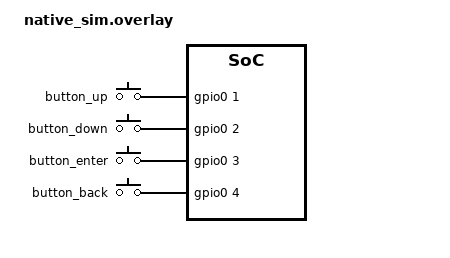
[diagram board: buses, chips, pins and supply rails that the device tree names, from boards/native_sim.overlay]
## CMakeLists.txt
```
# SPDX-License-Identifier: Apache-2.0

cmake_minimum_required(VERSION 3.20.0)

find_package(Zephyr REQUIRED HINTS $ENV{ZEPHYR_BASE})
find_package(Python REQUIRED COMPONENTS Interpreter)

project(zlrclib)

include_directories(src/applications)
include_directories(src/display)
include_directories(src/filesystem)
include_directories(src/http_server)
include_directories(src/wifi)

add_subdirectory(src/applications)
add_subdirectory_ifdef(CONFIG_DISPLAY src/display)
add_subdirectory_ifdef(CONFIG_FILE_SYSTEM src/filesystem)
add_subdirectory_ifdef(CONFIG_HTTP_SERVER src/http_server)
add_subdirectory_ifdef(CONFIG_WIFI_CONNECTION_MANAGER src/wifi)

target_sources(app PRIVATE src/main.c)
```

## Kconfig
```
# Config options for zlrclib
# Copyright (c) 2025 Muhammad Waleed Badar
# SPDX-License-Identifier: Apache-2.0

rsource "src/filesystem/Kconfig"
rsource "src/wifi/Kconfig"

source "Kconfig.zephyr"
```

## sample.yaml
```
# This file is provided so that the application can be compiled using Twister,
# the Zephyr testing tool. In this file, multiple combinations can be specified,
# so that you can easily test all of them locally or in CI.
sample:
  description: zlrclib
  name: zlrclib 
common:
  build_only: true
  integration_platforms:
    - zlrclibdk/esp32/procpu
tests:
  app.default: {}
  app.debug:
    extra_overlay_confs:
      - overlay-debug.conf
```

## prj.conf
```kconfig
# General config
CONFIG_MAIN_STACK_SIZE=4096
CONFIG_SYSTEM_WORKQUEUE_STACK_SIZE=4096
CONFIG_INIT_STACKS=y
CONFIG_THREAD_STACK_INFO=y

# Eventfd config
CONFIG_EVENTFD=y
CONFIG_ZVFS_EVENTFD_MAX=2
CONFIG_ZVFS_OPEN_MAX=16
CONFIG_ZVFS_POLL_MAX=16

# Wifi config
CONFIG_WIFI=y
CONFIG_WIFI_NM=y
CONFIG_WIFI_USAGE_MODE_STA_AP=y
CONFIG_WIFI_CONNECTION_MANAGER=y
CONFIG_WIFI_STATIC_SSID=""
CONFIG_WIFI_STATIC_PSK=""

# Networking config
CONFIG_NETWORKING=y
CONFIG_NET_IPV4=y
CONFIG_NET_IPV6=n
CONFIG_NET_TCP=y
CONFIG_NET_SOCKETS=y
CONFIG_NET_SOCKETS_SOCKOPT_TLS=y
CONFIG_NET_SOCKETS_CONNECT_TIMEOUT=10000

# Network buffers
CONFIG_NET_PKT_RX_COUNT=16
CONFIG_NET_PKT_TX_COUNT=16
CONFIG_NET_BUF_RX_COUNT=32
CONFIG_NET_BUF_TX_COUNT=32
CONFIG_NET_CONTEXT_NET_PKT_POOL=y

# Networking Managment
CONFIG_NET_MGMT_EVENT_QUEUE_SIZE=10
CONFIG_NET_MGMT_EVENT_STACK_SIZE=4096
CONFIG_NET_SOCKETS_SERVICE_STACK_SIZE=4096
CONFIG_NET_MAX_CONTEXTS=16
CONFIG_NET_MAX_CONN=16
CONFIG_NET_IF_MAX_IPV4_COUNT=2

# DHCP config
CONFIG_NET_DHCPV4=y

# DNS config
CONFIG_DNS_SERVER_IP_ADDRESSES=y
CONFIG_DNS_SERVER1="8.8.8.8"
CONFIG_NET_SOCKETS_DNS_TIMEOUT=5000

# MBEDTLS config
CONFIG_MBEDTLS=y
CONFIG_MBEDTLS_BUILTIN=y
CONFIG_MBEDTLS_ENABLE_HEAP=y
CONFIG_MBEDTLS_HEAP_SIZE=23552
CONFIG_MBEDTLS_SSL_MAX_CONTENT_LEN=2048
CONFIG_MBEDTLS_CIPHERSUITE_TLS_ECDHE_ECDSA_WITH_AES_256_GCM_SHA384=y

# JSON
CONFIG_JSON_LIBRARY=y

# REQUESTS
CONFIG_REQUESTS=y
CONFIG_REQUESTS_CERTIFICATE="lrclib.der"

# HTTP config
CONFIG_HTTP_SERVER=y

# Flash config
CONFIG_FLASH=y
CONFIG_FLASH_MAP=y

# LittleFS config
CONFIG_FILE_SYSTEM=y
CONFIG_FILE_SYSTEM_LITTLEFS=y

# Input config
CONFIG_INPUT=y

# Display config
CONFIG_DISPLAY=y

# LVGL config
CONFIG_LVGL=y
CONFIG_LV_FONT_MONTSERRAT_14=y
CONFIG_LV_Z_MEM_POOL_SIZE=16384

# Coredump config
CONFIG_DEBUG_COREDUMP=y
CONFIG_DEBUG_COREDUMP_MEMORY_DUMP_MIN=y
CONFIG_RETENTION_MUTEX_FORCE_DISABLE=y
CONFIG_RETAINED_MEM_MUTEX_FORCE_DISABLE=y
CONFIG_RETENTION_BUFFER_SIZE=256
```

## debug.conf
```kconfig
# Debug config
CONFIG_LOG=y
CONFIG_NET_LOG=y
CONFIG_WIFI_LOG_LEVEL_DBG=n
CONFIG_WIFI_CONNECTION_MANAGER_LOG_LEVEL_DBG=n
CONFIG_NET_SOCKETS_LOG_LEVEL_DBG=n
CONFIG_NET_DHCPV4_LOG_LEVEL_DBG=n
CONFIG_NET_DHCPV4_SERVER_LOG_LEVEL_DBG=n
CONFIG_NET_HTTP_LOG_LEVEL_DBG=n
CONFIG_NET_HTTP_SERVER_LOG_LEVEL_DBG=n
```

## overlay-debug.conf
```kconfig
# Debug config
CONFIG_LOG=y
CONFIG_NET_LOG=y
CONFIG_WIFI_LOG_LEVEL_DBG=n
CONFIG_WIFI_CONNECTION_MANAGER_LOG_LEVEL_DBG=n
CONFIG_NET_SOCKETS_LOG_LEVEL_DBG=n
CONFIG_NET_DHCPV4_LOG_LEVEL_DBG=n
CONFIG_NET_DHCPV4_SERVER_LOG_LEVEL_DBG=n
CONFIG_NET_HTTP_LOG_LEVEL_DBG=n
CONFIG_NET_HTTP_SERVER_LOG_LEVEL_DBG=n

# CONFIG_MBEDTLS_DEBUG=y
# CONFIG_MBEDTLS_LOG_LEVEL_DBG=y
```

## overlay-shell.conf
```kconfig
# Shell config
CONFIG_SHELL=y
CONFIG_NET_SHELL=y
CONFIG_NET_L2_WIFI_SHELL=y
CONFIG_FILE_SYSTEM_SHELL=y
```

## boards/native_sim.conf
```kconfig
# Wifi Config
CONFIG_WIFI=n
CONFIG_WIFI_NM=n
CONFIG_WIFI_USAGE_MODE_STA_AP=n
CONFIG_WIFI_CONNECTION_MANAGER=n

# Network address config
CONFIG_NET_DHCPV4=n
CONFIG_NET_CONFIG_SETTINGS=y
CONFIG_NET_CONFIG_NEED_IPV4=y
CONFIG_NET_CONFIG_MY_IPV4_ADDR="192.0.2.1"
CONFIG_NET_CONFIG_PEER_IPV4_ADDR="192.0.2.2"
CONFIG_NET_CONFIG_MY_IPV4_GW="192.0.2.2"

# Filesystem config
CONFIG_FUSE_FS_ACCESS=y

# Display config
CONFIG_LV_Z_MEM_POOL_SIZE=32768
```

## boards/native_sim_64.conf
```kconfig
# LVGL config
CONFIG_LV_Z_MEM_POOL_SIZE=32768

# Wifi Config
CONFIG_WIFI=n
CONFIG_WIFI_NM=n
CONFIG_WIFI_USAGE_MODE_STA_AP=n
CONFIG_WIFI_CONNECTION_MANAGER=n

# Network address config
CONFIG_NET_DHCPV4=n
CONFIG_NET_CONFIG_SETTINGS=y
CONFIG_NET_CONFIG_NEED_IPV4=y
CONFIG_NET_CONFIG_MY_IPV4_ADDR="192.0.2.1"
CONFIG_NET_CONFIG_PEER_IPV4_ADDR="192.0.2.2"
CONFIG_NET_CONFIG_MY_IPV4_GW="192.0.2.2"

# Filesystem config
CONFIG_FUSE_FS_ACCESS=y
```

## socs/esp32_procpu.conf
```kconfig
# RTC config
CONFIG_RTC=n
```

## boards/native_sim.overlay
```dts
/*
 * Copyright (c) 2025 Muhammad Waleed Badar
 *
 * SPDX-License-Identifier: Apache-2.0
 */

#include <zephyr/dt-bindings/input/input-event-codes.h>
#include <zephyr/dt-bindings/lvgl/lvgl.h>

/delete-node/ &storage_partition;

/ {
	keys: keys {
		compatible = "gpio-keys";
		button_up: button_up {
			gpios = <&gpio0 1 GPIO_ACTIVE_HIGH>;
			zephyr,code = <INPUT_KEY_UP>;
		};

		button_down: button_down {
			gpios = <&gpio0 2 GPIO_ACTIVE_HIGH>;
			zephyr,code = <INPUT_KEY_DOWN>;
		};

		button_enter: button_enter {
			gpios = <&gpio0 3 GPIO_ACTIVE_HIGH>;
			zephyr,code = <INPUT_KEY_ENTER>;
		};

		button_back: button_back {
			gpios = <&gpio0 4 GPIO_ACTIVE_HIGH>;
			zephyr,code = <INPUT_KEY_BACKSPACE>;
		};
	};

	lvgl_keypad_input {
		compatible = "zephyr,lvgl-keypad-input";
		input = <&keys>;
		input-codes = <INPUT_KEY_UP INPUT_KEY_DOWN INPUT_KEY_ENTER INPUT_KEY_BACKSPACE>;
		lvgl-codes = <LV_KEY_UP LV_KEY_DOWN LV_KEY_ENTER LV_KEY_BACKSPACE>;
	};
};

&gpio0 {
	ngpios = <5>;

	sdl_gpio {
		status = "okay";
		compatible = "zephyr,gpio-emul-sdl";
		/* Skip pin 0 with the unknown code 0 */
		scancodes = <0 82 81 40 42>;
	};
};

&sdl_dc {
	compatible = "zephyr,sdl-dc";
	width = <128>;
    height = <64>;
};

&flash0 {
    partitions {
        compatible = "fixed-partitions";
        #address-cells = <1>;
        #size-cells = <1>;

        storage_partition: partition@f0000 {
            label = "storage";
            reg = <0x000f0000 DT_SIZE_K(1024)>;
        };
    };
};
```

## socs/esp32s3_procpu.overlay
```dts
/ {
	wlan1: wlan1 {
		compatible = "espressif,esp32-wifi";
		status = "okay";
	};
};
```

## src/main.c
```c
/*
 * Copyright (c) 2025 Muhammad Waleed Badar
 *
 * SPDX-License-Identifier: Apache-2.0
 */

#include <zlrclib_display.h>
#include <wifi_conn_mgr.h>

#include <zephyr/logging/log.h>
LOG_MODULE_REGISTER(zlrclib);

#define ZLRCLIB_DISPLAY_STACK_SIZE 4096
#define ZLRCLIB_DISPLAY_PRIORITY 6

static void zlrclib_display_thread(void)
{
	int ret;

	ret = zlrclib_display_init();
	if (ret < 0) {
		return;
	}

	zlrclib_display_mgr_init();

	while (1) {
		lv_task_handler();
		k_sleep(K_MSEC(10));
	}
}

int main(void)
{
	int ret = 0;

#if defined(CONFIG_WIFI)
	struct net_if *iface = net_if_get_wifi_sta();
	if (iface == NULL) {
		LOG_ERR("Wifi interface not found");
		return -ENODEV;
	}

	ret = wifi_connect(iface, CONFIG_WIFI_STATIC_SSID, CONFIG_WIFI_STATIC_PSK);
	if (ret < 0) {
		LOG_WRN("WiFi connect failed: %d", ret);
	}
#endif

	return ret;
}

K_THREAD_DEFINE(zlrclib_display_tid, ZLRCLIB_DISPLAY_STACK_SIZE, zlrclib_display_thread, NULL, NULL, NULL, ZLRCLIB_DISPLAY_PRIORITY, 0, 200);
```

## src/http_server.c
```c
/*
 * Copyright (c) 2023, Emna Rekik
 * Copyright (c) 2024, Nordic Semiconductor
 *
 * SPDX-License-Identifier: Apache-2.0
 */

#include <stdio.h>
#include <inttypes.h>

#include <zephyr/kernel.h>
#include <zephyr/net/http/server.h>
#include <zephyr/net/http/service.h>
#include <zephyr/data/json.h>
#include "zephyr/sys/util.h"
#include <zephyr/sys/util_macro.h>
#include <zephyr/net/net_config.h>

#include <zephyr/logging/log.h>
LOG_MODULE_REGISTER(http_service, LOG_LEVEL_DBG);

static uint8_t index_html_gz[] = {
#include "index.html.gz.inc"
};

static uint8_t main_js_gz[] = {
#include "main.js.gz.inc"
};

static struct http_resource_detail_static index_html_gz_resource_detail = {
	.common =
		{
			.type = HTTP_RESOURCE_TYPE_STATIC,
			.bitmask_of_supported_http_methods = BIT(HTTP_GET),
			.content_encoding = "gzip",
			.content_type = "text/html",
		},
	.static_data = index_html_gz,
	.static_data_len = sizeof(index_html_gz),
};

static struct http_resource_detail_static main_js_gz_resource_detail = {
	.common =
		{
			.type = HTTP_RESOURCE_TYPE_STATIC,
			.bitmask_of_supported_http_methods = BIT(HTTP_GET),
			.content_encoding = "gzip",
			.content_type = "text/javascript",
		},
	.static_data = main_js_gz,
	.static_data_len = sizeof(main_js_gz),
};

static int connect_handler(struct http_client_ctx *client, enum http_data_status status,
			   const struct http_request_ctx *request_ctx,
			   struct http_response_ctx *response_ctx, void *user_data)
{
	static size_t processed;

	if (status == HTTP_SERVER_DATA_ABORTED) {
		LOG_INF("Transaction aborted after %zd bytes.", processed);
		processed = 0;
		return 0;
	}

	__ASSERT_NO_MSG(buffer != NULL);

	processed += request_ctx->data_len;

	printk("\n\n\n%.*s\n", request_ctx->data_len, request_ctx->data);

	if (status == HTTP_SERVER_DATA_FINAL) {
		LOG_DBG("All data received (%zd bytes).", processed);
		processed = 0;
	}

	/* connect data back to client */
	response_ctx->body = request_ctx->data;
	response_ctx->body_len = request_ctx->data_len;
	response_ctx->final_chunk = (status == HTTP_SERVER_DATA_FINAL);

	return 0;
}

static struct http_resource_detail_dynamic connect_resource_detail = {
	.common =
		{
			.type = HTTP_RESOURCE_TYPE_DYNAMIC,
			.bitmask_of_supported_http_methods = BIT(HTTP_GET) | BIT(HTTP_POST),
		},
	.cb = connect_handler,
	.user_data = NULL,
};

static uint16_t test_http_service_port = CONFIG_NET_SAMPLE_HTTP_SERVER_SERVICE_PORT;
HTTP_SERVICE_DEFINE(test_http_service, NULL, &test_http_service_port,
		    CONFIG_HTTP_SERVER_MAX_CLIENTS, 10, NULL, NULL, NULL);

HTTP_RESOURCE_DEFINE(index_html_gz_resource, test_http_service, "/",
		     &index_html_gz_resource_detail);

HTTP_RESOURCE_DEFINE(main_js_gz_resource, test_http_service, "/main.js",
		     &main_js_gz_resource_detail);

HTTP_RESOURCE_DEFINE(connect_resource, test_http_service, "/connect", &connect_resource_detail);
```

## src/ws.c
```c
/*
 * Copyright (c) 2024, Nordic Semiconductor
 *
 * SPDX-License-Identifier: Apache-2.0
 */

#include <stdio.h>

#include <zephyr/kernel.h>
#include <zephyr/net/http/service.h>
#include <zephyr/net/net_ip.h>
#include <zephyr/net/socket.h>
#include <zephyr/net/websocket.h>
#include <zephyr/net/net_mgmt.h>
#include <zephyr/init.h>
#if defined(CONFIG_NET_STATISTICS)
#include <zephyr/net/net_stats.h>
#endif

#include <zephyr/logging/log.h>
LOG_MODULE_DECLARE(net_http_server_sample, LOG_LEVEL_DBG);

#if defined(CONFIG_NET_SOCKETS_SOCKOPT_TLS) || defined(CONFIG_COVERAGE_GCOV)
#define STACK_SIZE 4096
#else
#define STACK_SIZE 2048
#endif

#if defined(CONFIG_NET_TC_THREAD_COOPERATIVE)
#define THREAD_PRIORITY K_PRIO_COOP(CONFIG_NUM_COOP_PRIORITIES - 1)
#else
#define THREAD_PRIORITY K_PRIO_PREEMPT(8)
#endif

#if defined(CONFIG_USERSPACE)
#include <zephyr/app_memory/app_memdomain.h>
extern struct k_mem_partition app_partition;
extern struct k_mem_domain app_domain;
#define APP_BMEM K_APP_BMEM(app_partition)
#define APP_DMEM K_APP_DMEM(app_partition)
#else
#define APP_BMEM
#define APP_DMEM
#endif

#define MAX_CLIENT_QUEUE CONFIG_NET_SAMPLE_NUM_WEBSOCKET_HANDLERS
#define RECV_BUFFER_SIZE 1280

struct ws_netstats_ctx {
	int sock;
	struct k_work_delayable work;
};

K_THREAD_STACK_ARRAY_DEFINE(ws_handler_stack, CONFIG_NET_SAMPLE_NUM_WEBSOCKET_HANDLERS, STACK_SIZE);
static struct k_thread ws_handler_thread[CONFIG_NET_SAMPLE_NUM_WEBSOCKET_HANDLERS];
static APP_BMEM bool ws_handler_in_use[CONFIG_NET_SAMPLE_NUM_WEBSOCKET_HANDLERS];

static struct ws_netstats_ctx netstats_ctx[CONFIG_NET_SAMPLE_NUM_WEBSOCKET_HANDLERS];

static struct data {
	int sock;
	uint32_t counter;
	uint32_t bytes_received;
	struct pollfd fds[1];
	char recv_buffer[RECV_BUFFER_SIZE];
} config[CONFIG_NET_SAMPLE_NUM_WEBSOCKET_HANDLERS] = {
	[0 ...(CONFIG_NET_SAMPLE_NUM_WEBSOCKET_HANDLERS - 1)] = {
		.sock = -1,
		.fds[0].fd = -1,
	}};

static int get_free_echo_slot(struct data *cfg)
{
	for (int i = 0; i < CONFIG_NET_SAMPLE_NUM_WEBSOCKET_HANDLERS; i++) {
		if (cfg[i].sock < 0) {
			return i;
		}
	}

	return -1;
}

static int get_free_netstats_slot(void)
{
	for (int i = 0; i < CONFIG_NET_SAMPLE_NUM_WEBSOCKET_HANDLERS; i++) {
		if (netstats_ctx[i].sock < 0) {
			return i;
		}
	}

	return -1;
}

static ssize_t sendall(int sock, const void *buf, size_t len)
{
	while (len) {
		ssize_t out_len = send(sock, buf, len, 0);

		if (out_len < 0) {
			return out_len;
		}
		buf = (const char *)buf + out_len;
		len -= out_len;
	}

	return 0;
}

static void ws_echo_handler(void *ptr1, void *ptr2, void *ptr3)
{
	int slot = POINTER_TO_INT(ptr1);
	struct data *cfg = ptr2;
	bool *in_use = ptr3;
	int offset = 0;
	int received;
	int client;
	int ret;

	client = cfg->sock;

	cfg->fds[0].fd = client;
	cfg->fds[0].events = POLLIN;

	/* In this example, we start to receive data from the websocket
	 * and send it back to the client. Note that we could either use
	 * the BSD socket interface if we do not care about Websocket
	 * specific packets, or we could use the websocket_{send/recv}_msg()
	 * function to send websocket specific data.
	 */
	while (true) {
		if (poll(cfg->fds, 1, -1) < 0) {
			LOG_ERR("Error in poll:%d", errno);
			continue;
		}

		if (cfg->fds[0].fd < 0) {
			continue;
		}

		if (cfg->fds[0].revents & ZSOCK_POLLHUP) {
			LOG_DBG("Client #%d has disconnected", client);
			break;
		}

		received = recv(client, cfg->recv_buffer + offset,
				sizeof(cfg->recv_buffer) - offset, 0);

		if (received == 0) {
			/* Connection closed */
			LOG_INF("[%d] Connection closed", slot);
			break;
		} else if (received < 0) {
			/* Socket error */
			LOG_ERR("[%d] Connection error %d", slot, errno);
			break;
		}

		cfg->bytes_received += received;
		offset += received;

#if !defined(CONFIG_NET_SOCKETS_SOCKOPT_TLS)
		/* To prevent fragmentation of the response, reply only if
		 * buffer is full or there is no more data to read
		 */
		if (offset == sizeof(cfg->recv_buffer) ||
		    (recv(client, cfg->recv_buffer + offset, sizeof(cfg->recv_buffer) - offset,
			  MSG_PEEK | MSG_DONTWAIT) < 0 &&
		     (errno == EAGAIN || errno == EWOULDBLOCK))) {
#endif
			ret = sendall(client, cfg->recv_buffer, offset);
			if (ret < 0) {
				LOG_ERR("[%d] Failed to send data, closing socket", slot);
				break;
			}

			LOG_DBG("[%d] Received and replied with %d bytes", slot, offset);

			if (++cfg->counter % 1000 == 0U) {
				LOG_INF("[%d] Sent %u packets", slot, cfg->counter);
			}

			offset = 0;
#if !defined(CONFIG_NET_SOCKETS_SOCKOPT_TLS)
		}
#endif
	}

	*in_use = false;

	(void)websocket_unregister(client);

	cfg->sock = -1;
}

static int netstats_collect(char *buf, size_t maxlen)
{
	int ret;
	struct net_stats data;
	uint32_t bytes_recv = 0;
	uint32_t bytes_sent = 0;
	uint32_t ipv6_recv = 0;
	uint32_t ipv6_sent = 0;
	uint32_t ipv4_recv = 0;
	uint32_t ipv4_sent = 0;
	uint32_t tcp_recv = 0;
	uint32_t tcp_sent = 0;

	net_mgmt(NET_REQUEST_STATS_GET_ALL, NULL, &data, sizeof(data));

	const char *net_stats_json_template = "{"
					      "\"bytes_recv\":%u,"
					      "\"bytes_sent\":%u,"
					      "\"ipv6_pkt_recv\":%u,"
					      "\"ipv6_pkt_sent\":%u,"
					      "\"ipv4_pkt_recv\":%u,"
					      "\"ipv4_pkt_sent\":%u,"
					      "\"tcp_bytes_recv\":%u,"
					      "\"tcp_bytes_sent\":%u"
					      "}";

	bytes_recv = data.bytes.received;
	bytes_sent = data.bytes.sent;
#if defined(CONFIG_NET_STATISTICS_IPV6)
	ipv6_recv = data.ipv6.recv;
	ipv6_sent = data.ipv6.sent;
#endif
#if defined(CONFIG_NET_STATISTICS_IPV4)
	ipv4_recv = data.ipv4.recv;
	ipv4_sent = data.ipv4.sent;
#endif
#if defined(CONFIG_NET_STATISTICS_TCP)
	tcp_recv = data.tcp.bytes.received;
	tcp_sent = data.tcp.bytes.sent;
#endif

	ret = snprintf(buf, maxlen, net_stats_json_template, bytes_recv, bytes_sent, ipv6_recv,
		       ipv6_sent, ipv4_recv, ipv4_sent, tcp_recv, tcp_sent);
	if (ret >= maxlen) {
		LOG_ERR("Net stats do not fit in buffer");
		return -ENOSPC;
	}

	return ret;
}

#define WS_NETSTATS_STACK_SIZE 2048
K_THREAD_STACK_DEFINE(ws_netstats_stack, WS_NETSTATS_STACK_SIZE);
struct k_work_q ws_netstats_queue;

static void netstats_handler(struct k_work *work)
{
	int ret;
	static char tx_buf[NET_IPV4_MTU];
	struct k_work_delayable *dwork = k_work_delayable_from_work(work);
	struct ws_netstats_ctx *ctx = CONTAINER_OF(dwork, struct ws_netstats_ctx, work);

	ret = netstats_collect(tx_buf, sizeof(tx_buf));
	if (ret < 0) {
		LOG_ERR("Unable to collect network statistics, err %d", ret);
		goto unregister;
	}

	ret = websocket_send_msg(ctx->sock, tx_buf, ret, WEBSOCKET_OPCODE_DATA_TEXT, false, true,
				 SYS_FOREVER_MS);
	if (ret < 0) {
		LOG_INF("Couldn't send websocket msg (%d), closing connection", ret);
		goto unregister;
	}

	ret = k_work_reschedule_for_queue(&ws_netstats_queue, &ctx->work,
					  K_MSEC(CONFIG_NET_SAMPLE_WEBSOCKET_STATS_INTERVAL));
	if (ret < 0) {
		LOG_ERR("Failed to schedule netstats work, err %d", ret);
		goto unregister;
	}

	return;

unregister:
	(void)websocket_unregister(ctx->sock);
	ctx->sock = -1;
}

int ws_netstats_init(void)
{
	struct k_work_queue_config cfg = {.name = "ws_netstats_q"};

	k_work_queue_init(&ws_netstats_queue);
	k_work_queue_start(&ws_netstats_queue, ws_netstats_stack, WS_NETSTATS_STACK_SIZE, 0, &cfg);

	for (int i = 0; i < CONFIG_NET_SAMPLE_NUM_WEBSOCKET_HANDLERS; i++) {
		netstats_ctx[i].sock = -1;
		k_work_init_delayable(&netstats_ctx[i].work, netstats_handler);
	}

	return 0;
}
SYS_INIT(ws_netstats_init, APPLICATION, 0);

int ws_echo_setup(int ws_socket, struct http_request_ctx *request_ctx, void *user_data)
{
	int slot;

	slot = get_free_echo_slot(config);
	if (slot < 0) {
		LOG_ERR("Cannot accept more connections");
		/* The caller will close the connection in this case */
		return -ENOENT;
	}

	config[slot].sock = ws_socket;

	LOG_INF("[%d] Accepted a Websocket connection", slot);

	k_thread_create(&ws_handler_thread[slot], ws_handler_stack[slot],
			K_THREAD_STACK_SIZEOF(ws_handler_stack[slot]), ws_echo_handler,
			INT_TO_POINTER(slot), &config[slot], &ws_handler_in_use[slot],
			THREAD_PRIORITY,
			IS_ENABLED(CONFIG_USERSPACE) ? K_USER | K_INHERIT_PERMS : 0, K_NO_WAIT);

	if (IS_ENABLED(CONFIG_THREAD_NAME)) {
#define MAX_NAME_LEN (sizeof("ws[xxxxxxxxxx]"))
		char name[MAX_NAME_LEN];

		snprintk(name, sizeof(name), "ws[%d]", slot);
		k_thread_name_set(&ws_handler_thread[slot], name);
	}

	return 0;
}

int ws_netstats_setup(int ws_socket, struct http_request_ctx *request_ctx, void *user_data)
{
	int ret;
	int slot;

	slot = get_free_netstats_slot();
	if (slot < 0) {
		LOG_ERR("Cannot accept more netstats websocket connections");
		return -ENOENT;
	}

	netstats_ctx[slot].sock = ws_socket;

	ret = k_work_reschedule_for_queue(&ws_netstats_queue, &netstats_ctx[slot].work, K_NO_WAIT);
	if (ret < 0) {
		LOG_ERR("Failed to schedule netstats work, err %d", ret);
		return ret;
	}

	LOG_INF("Accepted websocket connection for net stats");
	return 0;
}
```

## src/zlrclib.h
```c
/*
 * Copyright (c) 2025 Muhammad Waleed Badar
 *
 * SPDX-License-Identifier: Apache-2.0
 */

#ifndef ZLRCLIB_H_
#define ZLRCLIB_H_

#include <stdbool.h>
#include <stdint.h>
#include <string.h>

struct zlrclib_track_info {
	uint32_t id;
	uint8_t name[32];
	uint8_t track_name[32];
	uint8_t artist_name[32];
	uint8_t album_name[32];
	bool instrumental;
};

#endif /* ZLRCLIB_H_ */
```

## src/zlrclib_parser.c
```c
#include <zephyr/data/json.h>
#include <zlrclib.h>

#include <zephyr/logging/log.h>
LOG_MODULE_REGISTER(zlrclib_parser);

static const struct json_obj_descr track_descr[] = {
	JSON_OBJ_DESCR_PRIM_NAMED(struct zlrclib_track, "id", id, JSON_TOK_NUMBER),
	JSON_OBJ_DESCR_PRIM_NAMED(struct zlrclib_track, "name", name, JSON_TOK_STRING),
	JSON_OBJ_DESCR_PRIM_NAMED(struct zlrclib_track, "trackName", track_name, JSON_TOK_STRING),
	JSON_OBJ_DESCR_PRIM_NAMED(struct zlrclib_track, "artistName", artist_name, JSON_TOK_STRING),
	JSON_OBJ_DESCR_PRIM_NAMED(struct zlrclib_track, "albumName", album_name, JSON_TOK_STRING),
	JSON_OBJ_DESCR_PRIM_NAMED(struct zlrclib_track, "instrumental", instrumental,
				  JSON_TOK_TRUE),
	JSON_OBJ_DESCR_PRIM_NAMED(struct zlrclib_track, "plainLyrics", plain_lyrics,
				  JSON_TOK_STRING),
	JSON_OBJ_DESCR_PRIM_NAMED(struct zlrclib_track, "syncedLyrics", synced_lyrics,
				  JSON_TOK_STRING),
};

int zlrclib_track_parser(struct zlrclib_track *track, uint8_t *buf, size_t len)
{
	int ret, ret_json;

	if (!track && !buf) {
		LOG_ERR("Invalid arguments");
		return -EINVAL;
	}

	memset(track, 0, sizeof(struct zlrclib_track));

	ret = json_obj_parse(buf, len, track_descr, ARRAY_SIZE(track_descr), track);
	ret_json = (1 << ARRAY_SIZE(track_descr)) - 1;

	if (ret < 0) {
		LOG_ERR("JSON Parse Error: %d", ret);
		return ret;
	}

	if (ret != ret_json) {
		LOG_ERR("Not all values decoded; Expected return code %d but got %d", ret_json,
			ret);
		return -EINVAL;
	}

	return ret;
}
```

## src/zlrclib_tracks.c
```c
#include <app/zlrclib.h>

#include <zephyr/logging/log.h>
LOG_MODULE_REGISTER(zlrclib_tracks);

void zlrclib_track_info(struct zlrclib_track *track)
{
	if (!track) {
		LOG_ERR("Track info is NULL.");
		return;
	}

	LOG_INF("ID: %u", track->id);
	LOG_INF("Name: %s", track->name);
	LOG_INF("Track Name: %s", track->track_name);
	LOG_INF("Artist Name: %s", track->artist_name);
	LOG_INF("Album Name: %s", track->album_name);
	LOG_INF("Instrumental: %s", track->instrumental ? "Yes" : "No");
	LOG_INF("Plain Lyrics: %s", track->plain_lyrics);
	LOG_INF("Synced Lyrics: %s", track->synced_lyrics);
}

uint8_t track1[] = "{"
		   "\"id\": 479074,"
		   "\"name\": \"You Suffer\","
		   "\"trackName\": \"You Suffer\","
		   "\"artistName\": \"Napalm Death\","
		   "\"albumName\": \"Scum\","
		   "\"duration\": 5,"
		   "\"instrumental\": false,"
		   "\"plainLyrics\": \"You suffer, but why?\","
		   "\"syncedLyrics\": \"[00:00.57] You suffer, but why?\n[00:01.83] \""
		   "}";

uint8_t track2[] =
	"{"
	"\"id\": 19882463,"
	"\"name\": \"Mystical Magical\","
	"\"trackName\": \"Mystical Magical\","
	"\"artistName\": \"Benson Boone\","
	"\"albumName\": \"2:46\","
	"\"duration\": 165.72,"
	"\"instrumental\": false,"
	"\"plainLyrics\": \"There's nothing colder\nThan your shoulder\nWhen you're "
	"dragging me along\nLike you do, like you do\n\nAnd then you switch up\nWith no "
	"warning\nAnd you kiss me like you want it\nHow rude, how rude\n\nBut I kinda like "
	"it anyways\nI don't mind\nIf this is gonna take a million days\nI know you'll "
	"come around\nTo me eventually\nIf you sit back, relax\nEnjoy my company\nMy "
	"company\n\nOnce you know\nWhat my love's gonna feel like\nNothing else\nWill feel "
	"right\nYou can feel like\nMoonbeam ice cream\nTaking off your blue jeans\nDancing "
	"at the movies\n\n'Cause it feels\nSo mystical\nMagical oh baby\n'Cause once you "
	"know\nOnce you know\nMy love is\nSo mystical, magical\nOh baby!\n'Cause once you "
	"know\nOnce you know\n\nMy little hard-to-get baby\nI want to give you the "
	"world\nNot saying you gotta chase me\nBut I wouldn't mind it\nIf you gave me just "
	"a little bit of\nSomething we can work it with\nBut all you do is push me "
	"out\n\nBut I like it anyways\n'Cause I think\nI'm getting closer to you "
	"everyday\nI know you'll come around\nTo me eventually\nJust sit back, "
	"relax\nEnjoy my company\n\nOh baby! Trust me\nOnce you know\nWhat my love's gonna "
	"feel like\nNothing else will feel right\nYou can feel like\nMoonbeam ice "
	"cream\nTaking off your blue jeans\nDancing at the movies\n\n'Cause it feels\nSo "
	"mystical, magical\nOh baby!\n'Cause, once you know\nOnce you know\nMy love is\nSo "
	"mystical, magical\nOh baby!\n'Cause once you know\nOnce you know\n\nOnce you know "
	"what my love's going to feel like\nMoonbeam ice cream\nNothing else will feel "
	"right\n\nMystical, magical oh baby\nIt's mystical, magical\","
	"\"syncedLyrics\": \"[00:07.63] There's nothing colder\n[00:08.96] Than your "
	"shoulder\n[00:09.75] When you're dragging me along\n[00:11.69] Like you do, like "
	"you do\n[00:15.42] And then you switch up\n[00:16.56] With no warning\n[00:17.77] "
	"And you kiss me like you want it\n[00:19.55] How rude, how rude\n[00:22.76] But I "
	"kinda like it anyways\n[00:25.70] I don't mind\n[00:26.57] If this is gonna take "
	"a million days\n[00:29.54] I know you'll come around\n[00:31.41] To me "
	"eventually\n[00:33.57] If you sit back, relax\n[00:35.66] Enjoy my "
	"company\n[00:37.83] My company\n[00:39.81] Once you know\n[00:41.65] What my "
	"love's gonna feel like\n[00:44.11] Nothing else\n[00:45.07] Will feel "
	"right\n[00:46.31] You can feel like\n[00:47.96] Moonbeam ice cream\n[00:50.08] "
	"Taking off your blue jeans\n[00:52.19] Dancing at the movies\n[00:54.38] 'Cause "
	"it feels\n[00:55.41] So mystical\n[00:57.34] Magical oh baby\n[00:59.52] 'Cause "
	"once you know\n[01:01.11] Once you know\n[01:02.58] My love is\n[01:03.61] So "
	"mystical, magical\n[01:06.46] Oh baby!\n[01:07.76] 'Cause once you "
	"know\n[01:09.15] Once you know\n[01:12.36] My little hard-to-get baby\n[01:14.29] "
	"I want to give you the world\n[01:16.43] Not saying you gotta chase "
	"me\n[01:18.23] But I wouldn't mind it\n[01:20.04] If you gave me just a little "
	"bit of\n[01:22.09] Something we can work it with\n[01:24.04] But all you do is "
	"push me out\n[01:27.61] But I like it anyways\n[01:29.63] 'Cause I "
	"think\n[01:30.54] I'm getting closer to you everyday\n[01:33.79] I know you'll "
	"come around\n[01:35.38] To me eventually\n[01:37.76] Just sit back, "
	"relax\n[01:39.60] Enjoy my company\n[01:42.14] Oh baby! Trust me\n[01:44.18] Once "
	"you know\n[01:45.66] What my love's gonna feel like\n[01:48.15] Nothing else will "
	"feel right\n[01:50.44] You can feel like\n[01:52.06] Moonbeam ice "
	"cream\n[01:53.94] Taking off your blue jeans\n[01:56.11] Dancing at the "
	"movies\n[01:58.37] 'Cause it feels\n[01:59.28] So mystical, magical\n[02:02.52] "
	"Oh baby!\n[02:03.68] 'Cause, once you know\n[02:05.26] Once you know\n[02:06.51] "
	"My love is\n[02:07.54] So mystical, magical\n[02:10.31] Oh baby!\n[02:11.68] "
	"'Cause once you know\n[02:13.60] Once you know\n[02:16.69] Once you know what my "
	"love's going to feel like\n[02:21.50] \n[02:24.49] Moonbeam ice cream\n[02:26.12] "
	"Nothing else will feel right\n[02:29.71] \n[02:32.04] Mystical, magical oh "
	"baby\n[02:35.89] It's mystical, magical\n[02:38.94] \""
	"}";
```
